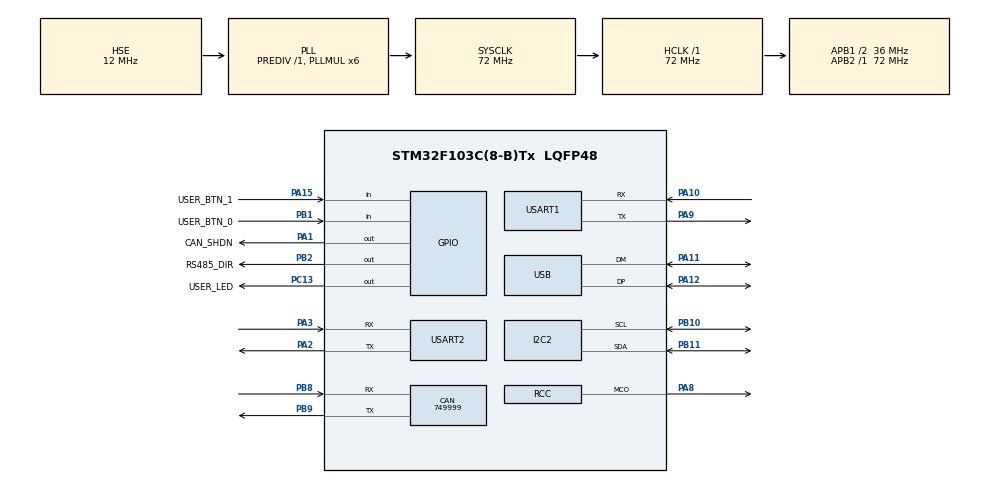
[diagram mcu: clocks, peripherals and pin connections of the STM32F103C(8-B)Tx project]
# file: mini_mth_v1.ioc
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CAN.CalculateBaudRate=749999
CAN.CalculateTimeBit=1333
CAN.CalculateTimeQuantum=444.44444444444446
FREERTOS.HEAP_NUMBER=4
FREERTOS.Tasks01=defaultTask,24,128,StartDefaultTask,Default,NULL,Dynamic,NULL,NULL
FREERTOS.configCHECK_FOR_STACK_OVERFLOW=1
FREERTOS.configTOTAL_HEAP_SIZE=12000
FREERTOS.configUSE_NEWLIB_REENTRANT=1
Mcu.Family=STM32F1
Mcu.Name=STM32F103C(8-B)Tx
Mcu.Package=LQFP48
NVIC.PriorityGroup=NVIC_PRIORITYGROUP_4
NVIC.TIM1_UP_IRQn=true\:15\:0\:false\:false\:true\:false\:false\:true\:true
NVIC.TimeBase=TIM1_UP_IRQn
NVIC.TimeBaseIP=TIM1
NVIC.USART2_IRQn=true\:5\:0\:false\:false\:true\:true\:true\:true\:true
PA1.GPIO_Label=CAN_SHDN
PA1.Signal=GPIO_Output
PA10.Mode=Asynchronous
PA10.Signal=USART1_RX
PA11.Mode=Device
PA11.Signal=USB_DM
PA12.Mode=Device
PA12.Signal=USB_DP
PA13.Mode=Serial_Wire
PA13.Signal=SYS_JTMS-SWDIO
PA14.Mode=Serial_Wire
PA14.Signal=SYS_JTCK-SWCLK
PA15.GPIO_Label=USER_BTN_1
PA15.Signal=GPIO_Input
PA2.Mode=Asynchronous
PA2.Signal=USART2_TX
PA3.Mode=Asynchronous
PA3.Signal=USART2_RX
PA8.Mode=Clock-out
PA8.Signal=RCC_MCO
PA9.Mode=Asynchronous
PA9.Signal=USART1_TX
PB1.GPIO_Label=USER_BTN_0
PB1.Signal=GPIO_Input
PB10.Mode=I2C
PB10.Signal=I2C2_SCL
PB11.Mode=I2C
PB11.Signal=I2C2_SDA
PB2.GPIO_Label=RS485_DIR
PB2.Signal=GPIO_Output
PB8.Mode=CAN_Activate
PB8.Signal=CAN_RX
PB9.Mode=CAN_Activate
PB9.Signal=CAN_TX
PC13-TAMPER-RTC.GPIO_Label=USER_LED
PC13-TAMPER-RTC.Signal=GPIO_Output
PC14-OSC32_IN.Mode=LSE-External-Oscillator
PC14-OSC32_IN.Signal=RCC_OSC32_IN
PC15-OSC32_OUT.Mode=LSE-External-Oscillator
PC15-OSC32_OUT.Signal=RCC_OSC32_OUT
PD0-OSC_IN.Mode=HSE-External-Oscillator
PD0-OSC_IN.Signal=RCC_OSC_IN
PD1-OSC_OUT.Mode=HSE-External-Oscillator
PD1-OSC_OUT.Signal=RCC_OSC_OUT
ProjectManager.HeapSize=0x400
ProjectManager.StackSize=0x800
ProjectManager.TargetToolchain=STM32CubeIDE
RCC.AHBFreq_Value=72000000
RCC.APB1CLKDivider=RCC_HCLK_DIV2
RCC.APB1Freq_Value=36000000
RCC.APB1TimFreq_Value=72000000
RCC.APB2Freq_Value=72000000
RCC.APB2TimFreq_Value=72000000
RCC.HCLKFreq_Value=72000000
RCC.HSE_VALUE=12000000
RCC.PLLMUL=RCC_PLL_MUL6
RCC.PLLSourceVirtual=RCC_PLLSOURCE_HSE
RCC.RCC_MCOSource=RCC_MCO1SOURCE_PLLCLK
RCC.SYSCLKFreq_VALUE=72000000
RCC.SYSCLKSource=RCC_SYSCLKSOURCE_PLLCLK
RCC.USBFreq_Value=48000000
RCC.USBPrescaler=RCC_USBCLKSOURCE_PLL_DIV1_5
USART1.VirtualMode=VM_ASYNC
USART2.VirtualMode=VM_ASYNC
VP_FREERTOS_VS_CMSIS_V2.Mode=CMSIS_V2
VP_SYS_VS_tim1.Mode=TIM1
board=custom

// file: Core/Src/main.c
/* USER CODE BEGIN Header */
/**
  ******************************************************************************
  * @file           : main.c
  * @brief          : Main program body
  ******************************************************************************
  * @attention
  *
  * Copyright (c) 2025 STMicroelectronics.
  * All rights reserved.
  *
  * This software is licensed under terms that can be found in the LICENSE file
  * in the root directory of this software component.
  * If no LICENSE file comes with this software, it is provided AS-IS.
  *
  ******************************************************************************
  */
/* USER CODE END Header */
#include "main.h"
#include "cmsis_os.h"

/* USER CODE BEGIN Includes */

#include "link_interface.h"
#include "periph_io.h"
#include "gpio_io.h"
#include "messages.h"
#include "events.h"
#include "api.h"
#include "simple_led.h"
#include "user_hw_abstraction_layer.h"
#include "button_thread.h"
#include "print_msg_thread.h"
#include "rs485_thread.h"

/* USER CODE END Includes */

CAN_HandleTypeDef hcan;

I2C_HandleTypeDef hi2c2;

UART_HandleTypeDef huart1;
UART_HandleTypeDef huart2;

PCD_HandleTypeDef hpcd_USB_FS;

/* Definitions for defaultTask */
osThreadId_t defaultTaskHandle;
const osThreadAttr_t defaultTask_attributes = {
  .name = "defaultTask",
  .stack_size = 128 * 4,
  .priority = (osPriority_t) osPriorityNormal,
};
/* USER CODE BEGIN PV */

//gpio_interface_td hgpio;

/* USER CODE END PV */

void SystemClock_Config(void);
static void MX_GPIO_Init(void);
static void MX_I2C2_Init(void);
static void MX_CAN_Init(void);
static void MX_USART2_UART_Init(void);
static void MX_USART1_UART_Init(void);
static void MX_USB_PCD_Init(void);
void StartDefaultTask(void *argument);

int main(void)
{

  /* MCU Configuration--------------------------------------------------------*/

  /* Reset of all peripherals, Initializes the Flash interface and the Systick. */
  HAL_Init();

  /* Configure the system clock */
  SystemClock_Config();

  /* Initialize all configured peripherals */
  MX_GPIO_Init();
  MX_I2C2_Init();
  MX_CAN_Init();
  MX_USART2_UART_Init();
  MX_USART1_UART_Init();
  MX_USB_PCD_Init();
  /* USER CODE BEGIN 2 */

  link_gpio_interface(get_gpio_interface_handle(0), gpio_set, gpio_get);

  /* USER CODE END 2 */

  /* Init scheduler */
  osKernelInitialize();

  /* USER CODE BEGIN RTOS_QUEUES */
  /* add queues, ... */
  print_msg_queue_init();
  /* USER CODE END RTOS_QUEUES */

  /* Create the thread(s) */
  /* creation of defaultTask */
  defaultTaskHandle = osThreadNew(StartDefaultTask, NULL, &defaultTask_attributes);

  /* USER CODE BEGIN RTOS_EVENTS */
  /* add events, ... */
  init_periph_events();

  link_periph_interface(
		  get_hard_uart_interface_handle(1),
		  get_periph_event_id(),
		  0,
		  UART2_RS485_RX_DONE,
		  UART,
		  HARDWARE_ADDR,
		  &huart2,
		  uart_write_it,
		  uart_read_it,
		  delay_us);

  print_msg_thread_init();
  button_thread_init();
  rs485_thread_init();

  /* USER CODE END RTOS_EVENTS */

  /* Start scheduler */
  osKernelStart();

  /* We should never get here as control is now taken by the scheduler */

  /* Infinite loop */
  while (1)
  {

  }
}

void SystemClock_Config(void)
{
  RCC_OscInitTypeDef RCC_OscInitStruct = {0};
  RCC_ClkInitTypeDef RCC_ClkInitStruct = {0};
  RCC_PeriphCLKInitTypeDef PeriphClkInit = {0};

  /** Initializes the RCC Oscillators according to the specified parameters
  * in the RCC_OscInitTypeDef structure.
  */
  RCC_OscInitStruct.OscillatorType = RCC_OSCILLATORTYPE_HSE;
  RCC_OscInitStruct.HSEState = RCC_HSE_ON;
  RCC_OscInitStruct.HSEPredivValue = RCC_HSE_PREDIV_DIV1;
  RCC_OscInitStruct.HSIState = RCC_HSI_ON;
  RCC_OscInitStruct.PLL.PLLState = RCC_PLL_ON;
  RCC_OscInitStruct.PLL.PLLSource = RCC_PLLSOURCE_HSE;
  RCC_OscInitStruct.PLL.PLLMUL = RCC_PLL_MUL6;
  if (HAL_RCC_OscConfig(&RCC_OscInitStruct) != HAL_OK)
  {
    Error_Handler();
  }

  /** Initializes the CPU, AHB and APB buses clocks
  */
  RCC_ClkInitStruct.ClockType = RCC_CLOCKTYPE_HCLK|RCC_CLOCKTYPE_SYSCLK
                              |RCC_CLOCKTYPE_PCLK1|RCC_CLOCKTYPE_PCLK2;
  RCC_ClkInitStruct.SYSCLKSource = RCC_SYSCLKSOURCE_PLLCLK;
  RCC_ClkInitStruct.AHBCLKDivider = RCC_SYSCLK_DIV1;
  RCC_ClkInitStruct.APB1CLKDivider = RCC_HCLK_DIV2;
  RCC_ClkInitStruct.APB2CLKDivider = RCC_HCLK_DIV1;

  if (HAL_RCC_ClockConfig(&RCC_ClkInitStruct, FLASH_LATENCY_2) != HAL_OK)
  {
    Error_Handler();
  }
  PeriphClkInit.PeriphClockSelection = RCC_PERIPHCLK_USB;
  PeriphClkInit.UsbClockSelection = RCC_USBCLKSOURCE_PLL_DIV1_5;
  if (HAL_RCCEx_PeriphCLKConfig(&PeriphClkInit) != HAL_OK)
  {
    Error_Handler();
  }
  HAL_RCC_MCOConfig(RCC_MCO, RCC_MCO1SOURCE_PLLCLK, RCC_MCODIV_1);
}

static void MX_CAN_Init(void)
{

  hcan.Instance = CAN1;
  hcan.Init.Prescaler = 16;
  hcan.Init.Mode = CAN_MODE_NORMAL;
  hcan.Init.SyncJumpWidth = CAN_SJW_1TQ;
  hcan.Init.TimeSeg1 = CAN_BS1_1TQ;
  hcan.Init.TimeSeg2 = CAN_BS2_1TQ;
  hcan.Init.TimeTriggeredMode = DISABLE;
  hcan.Init.AutoBusOff = DISABLE;
  hcan.Init.AutoWakeUp = DISABLE;
  hcan.Init.AutoRetransmission = DISABLE;
  hcan.Init.ReceiveFifoLocked = DISABLE;
  hcan.Init.TransmitFifoPriority = DISABLE;
  if (HAL_CAN_Init(&hcan) != HAL_OK)
  {
    Error_Handler();
  }

}

static void MX_I2C2_Init(void)
{

  hi2c2.Instance = I2C2;
  hi2c2.Init.ClockSpeed = 100000;
  hi2c2.Init.DutyCycle = I2C_DUTYCYCLE_2;
  hi2c2.Init.OwnAddress1 = 0;
  hi2c2.Init.AddressingMode = I2C_ADDRESSINGMODE_7BIT;
  hi2c2.Init.DualAddressMode = I2C_DUALADDRESS_DISABLE;
  hi2c2.Init.OwnAddress2 = 0;
  hi2c2.Init.GeneralCallMode = I2C_GENERALCALL_DISABLE;
  hi2c2.Init.NoStretchMode = I2C_NOSTRETCH_DISABLE;
  if (HAL_I2C_Init(&hi2c2) != HAL_OK)
  {
    Error_Handler();
  }

}

static void MX_USART1_UART_Init(void)
{

  huart1.Instance = USART1;
  huart1.Init.BaudRate = 115200;
  huart1.Init.WordLength = UART_WORDLENGTH_8B;
  huart1.Init.StopBits = UART_STOPBITS_1;
  huart1.Init.Parity = UART_PARITY_NONE;
  huart1.Init.Mode = UART_MODE_TX_RX;
  huart1.Init.HwFlowCtl = UART_HWCONTROL_NONE;
  huart1.Init.OverSampling = UART_OVERSAMPLING_16;
  if (HAL_UART_Init(&huart1) != HAL_OK)
  {
    Error_Handler();
  }

}

static void MX_USART2_UART_Init(void)
{

  huart2.Instance = USART2;
  huart2.Init.BaudRate = 115200;
  huart2.Init.WordLength = UART_WORDLENGTH_8B;
  huart2.Init.StopBits = UART_STOPBITS_1;
  huart2.Init.Parity = UART_PARITY_NONE;
  huart2.Init.Mode = UART_MODE_TX_RX;
  huart2.Init.HwFlowCtl = UART_HWCONTROL_NONE;
  huart2.Init.OverSampling = UART_OVERSAMPLING_16;
  if (HAL_UART_Init(&huart2) != HAL_OK)
  {
    Error_Handler();
  }

}

static void MX_USB_PCD_Init(void)
{

  hpcd_USB_FS.Instance = USB;
  hpcd_USB_FS.Init.dev_endpoints = 8;
  hpcd_USB_FS.Init.speed = PCD_SPEED_FULL;
  hpcd_USB_FS.Init.low_power_enable = DISABLE;
  hpcd_USB_FS.Init.lpm_enable = DISABLE;
  hpcd_USB_FS.Init.battery_charging_enable = DISABLE;
  if (HAL_PCD_Init(&hpcd_USB_FS) != HAL_OK)
  {
    Error_Handler();
  }

}

static void MX_GPIO_Init(void)
{
  GPIO_InitTypeDef GPIO_InitStruct = {0};

  /* GPIO Ports Clock Enable */
  __HAL_RCC_GPIOC_CLK_ENABLE();
  __HAL_RCC_GPIOD_CLK_ENABLE();
  __HAL_RCC_GPIOA_CLK_ENABLE();
  __HAL_RCC_GPIOB_CLK_ENABLE();

  /*Configure GPIO pin Output Level */
  HAL_GPIO_WritePin(USER_LED_GPIO_Port, USER_LED_Pin, GPIO_PIN_RESET);

  /*Configure GPIO pin Output Level */
  HAL_GPIO_WritePin(CAN_SHDN_GPIO_Port, CAN_SHDN_Pin, GPIO_PIN_RESET);

  /*Configure GPIO pin Output Level */
  HAL_GPIO_WritePin(RS485_DIR_GPIO_Port, RS485_DIR_Pin, GPIO_PIN_RESET);

  /*Configure GPIO pin : USER_LED_Pin */
  GPIO_InitStruct.Pin = USER_LED_Pin;
  GPIO_InitStruct.Mode = GPIO_MODE_OUTPUT_PP;
  GPIO_InitStruct.Pull = GPIO_NOPULL;
  GPIO_InitStruct.Speed = GPIO_SPEED_FREQ_LOW;
  HAL_GPIO_Init(USER_LED_GPIO_Port, &GPIO_InitStruct);

  /*Configure GPIO pins : PA0 PA4 PA5 PA6
                           PA7 */
  GPIO_InitStruct.Pin = GPIO_PIN_0|GPIO_PIN_4|GPIO_PIN_5|GPIO_PIN_6
                          |GPIO_PIN_7;
  GPIO_InitStruct.Mode = GPIO_MODE_ANALOG;
  HAL_GPIO_Init(GPIOA, &GPIO_InitStruct);

  /*Configure GPIO pin : CAN_SHDN_Pin */
  GPIO_InitStruct.Pin = CAN_SHDN_Pin;
  GPIO_InitStruct.Mode = GPIO_MODE_OUTPUT_PP;
  GPIO_InitStruct.Pull = GPIO_NOPULL;
  GPIO_InitStruct.Speed = GPIO_SPEED_FREQ_LOW;
  HAL_GPIO_Init(CAN_SHDN_GPIO_Port, &GPIO_InitStruct);

  /*Configure GPIO pins : PB0 PB12 PB13 PB14
                           PB15 PB3 PB4 PB5
                           PB6 PB7 */
  GPIO_InitStruct.Pin = GPIO_PIN_0|GPIO_PIN_12|GPIO_PIN_13|GPIO_PIN_14
                          |GPIO_PIN_15|GPIO_PIN_3|GPIO_PIN_4|GPIO_PIN_5
                          |GPIO_PIN_6|GPIO_PIN_7;
  GPIO_InitStruct.Mode = GPIO_MODE_ANALOG;
  HAL_GPIO_Init(GPIOB, &GPIO_InitStruct);

  /*Configure GPIO pin : USER_BTN_0_Pin */
  GPIO_InitStruct.Pin = USER_BTN_0_Pin;
  GPIO_InitStruct.Mode = GPIO_MODE_INPUT;
  GPIO_InitStruct.Pull = GPIO_NOPULL;
  HAL_GPIO_Init(USER_BTN_0_GPIO_Port, &GPIO_InitStruct);

  /*Configure GPIO pin : RS485_DIR_Pin */
  GPIO_InitStruct.Pin = RS485_DIR_Pin;
  GPIO_InitStruct.Mode = GPIO_MODE_OUTPUT_PP;
  GPIO_InitStruct.Pull = GPIO_NOPULL;
  GPIO_InitStruct.Speed = GPIO_SPEED_FREQ_LOW;
  HAL_GPIO_Init(RS485_DIR_GPIO_Port, &GPIO_InitStruct);

  /*Configure GPIO pin : PA8 */
  GPIO_InitStruct.Pin = GPIO_PIN_8;
  GPIO_InitStruct.Mode = GPIO_MODE_AF_PP;
  GPIO_InitStruct.Speed = GPIO_SPEED_FREQ_LOW;
  HAL_GPIO_Init(GPIOA, &GPIO_InitStruct);

  /*Configure GPIO pin : USER_BTN_1_Pin */
  GPIO_InitStruct.Pin = USER_BTN_1_Pin;
  GPIO_InitStruct.Mode = GPIO_MODE_INPUT;
  GPIO_InitStruct.Pull = GPIO_NOPULL;
  HAL_GPIO_Init(USER_BTN_1_GPIO_Port, &GPIO_InitStruct);

}

void StartDefaultTask(void *argument)
{
  /* USER CODE BEGIN 5 */

	simple_led_params_td ledh;
	simple_led_init(&ledh, get_gpio_interface_handle(0), GPIO_LED_ORANGE);

  /* Infinite loop */
  for(;;)
  {
	  simple_led_set(&ledh, LED_ON);
	//gpio_set(0, GPIO_TRUE);
	osDelay(100);
	//gpio_set(0, GPIO_FALSE);
	simple_led_set(&ledh, LED_OFF);
    osDelay(100);

    print_to_console("Default task says Hello!");
    //printf("123\n\r");
    //HAL_UART_Transmit(&huart1, buffer, 16, 0xFFFF);
  }
  /* USER CODE END 5 */
}

void HAL_TIM_PeriodElapsedCallback(TIM_HandleTypeDef *htim)
{
  if (htim->Instance == TIM1) {
    HAL_IncTick();
  }
}

void Error_Handler(void)
{
  __disable_irq();
  while (1)
  {
  }
}
